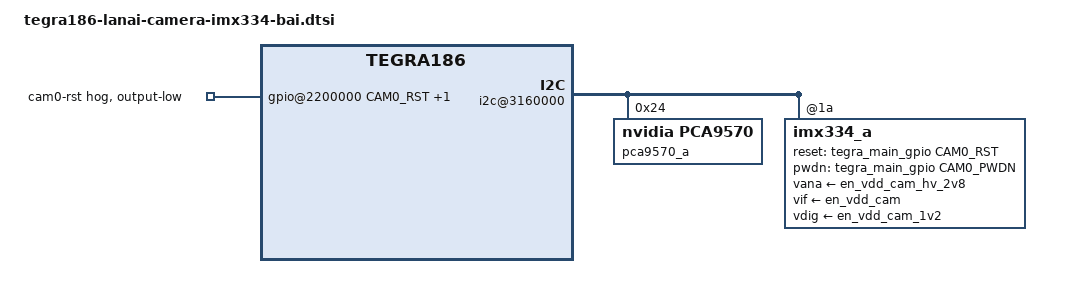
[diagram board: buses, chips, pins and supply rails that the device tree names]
/*
 * tegra210-porg-camera-imx334.dtsi - imx334 sensor device tree
 *
 * Copyright (c) 2019. FRAMOS.  All rights reserved.
 *
 * This program is free software; you can redistribute it and/or modify it
 * under the terms and conditions of the GNU General Public License,
 * version 2, as published by the Free Software Foundation.
 *
 * This program is distributed in the hope it will be useful, but WITHOUT
 * ANY WARRANTY; without even the implied warranty of MERCHANTABILITY or
 * FITNESS FOR A PARTICULAR PURPOSE.  See the GNU General Public License for
 * more details.
 *
 * You should have received a copy of the GNU General Public License
 * along with this program.  If not, see <http://www.gnu.org/licenses/>.
 */

#include <t18x-common-modules/tegra186-lanai-camera-imx334-bai.dtsi>
#include <dt-bindings/clock/tegra186-clock.h>

#define CAM0_RST      TEGRA_MAIN_GPIO(N, 1)
#define CAM0_PWDN     TEGRA_MAIN_GPIO(N, 3)

/ {

    i2c@3160000 {
		#address-cells = <1>;
		#size-cells = <0>;
		pca9570_a@24 {
			compatible = "nvidia,pca9570";
			reg = <0x24>;
			channel = "a";
			drive_ic = "DRV8838";
		};

		imx334_a@1a {
			/* Define any required hw resources needed by driver */
			/* ie. clocks, io pins, power sources */
			clocks = <&tegra_car TEGRA186_CLK_EXTPERIPH1>,
					 <&tegra_car TEGRA186_CLK_PLLP_OUT0>;
			clock-names = "extperiph1", "pllp_grtba";
			mclk = "extperiph1";
			reset-gpios = <&tegra_main_gpio CAM0_RST GPIO_ACTIVE_HIGH>;
			pwdn-gpios = <&tegra_main_gpio CAM0_PWDN GPIO_ACTIVE_HIGH>;
			vana-supply = <&en_vdd_cam_hv_2v8>;
			vif-supply = <&en_vdd_cam>;
			vdig-supply = <&en_vdd_cam_1v2>;
		};
	};

	gpio@2200000 {
		camera-control-output-low {
			gpio-hog;
			output-low;
			gpios = <CAM0_RST 0 CAM0_PWDN 0>;
			label = "cam0-rst","cam0-pwdn";
		};
	};

};
